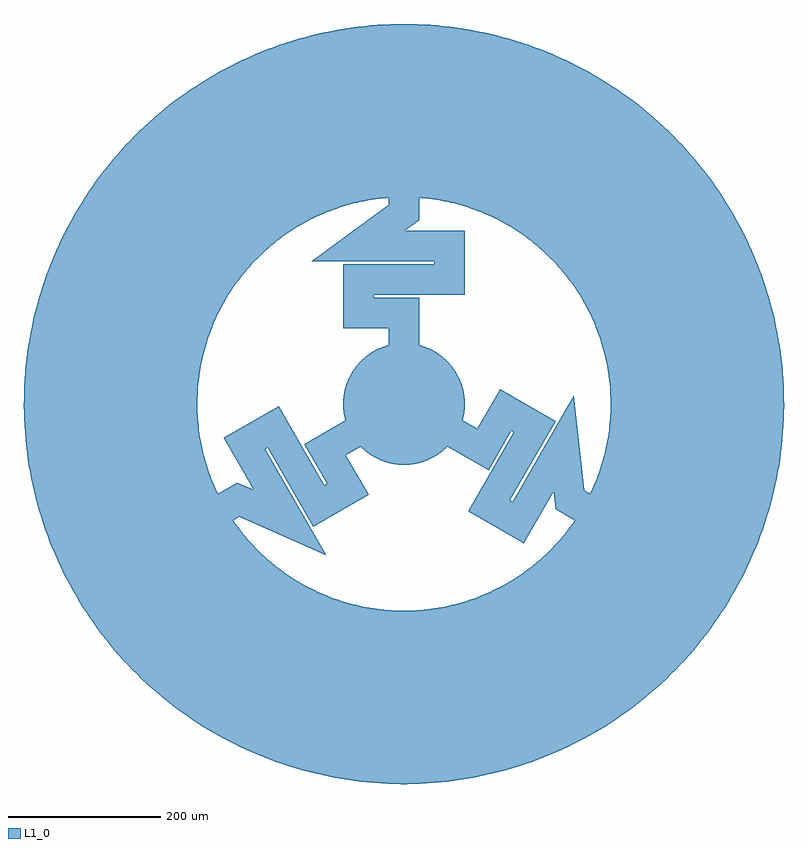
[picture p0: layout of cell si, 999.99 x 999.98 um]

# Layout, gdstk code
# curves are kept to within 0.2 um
import gdstk
lib = gdstk.Library(unit=1e-6, precision=1e-09)
def P(c, l, *ps):  # polygons
    for p in ps: c.add(gdstk.Polygon(p, *l))
L1_0 = (1, 0)

c_si = lib.new_cell('si')
P(c_si, L1_0, [(-0.7,-79.997),(-7.689,-79.63),(-15.993,-78.385),(-24.121,-76.277),(-30.696,-73.877),(-37.035,-70.911),(-44.264,-66.639),(-51.005,-61.632),(-57.184,-55.946),(-61.855,-50.735),(-66.832,-43.972),(-71.073,-36.724),(-74.531,-29.072),(-77.167,-21.1),(-78.716,-14.275),(-79.663,-7.34),(-79.993,1.05),(-79.595,8.037),(-78.314,16.336),(-76.171,24.455),(-73.188,32.304),(-69.398,39.798),(-65.655,45.711),(-60.502,52.341),(-55.696,57.428),(-49.369,62.95),(-43.679,67.024),(-37.654,70.585),(-30.048,74.143),(-22.111,76.884),(-13.93,78.778),(-6.992,79.694),(1.4,79.988),(9.777,79.4),(16.679,78.242),(24.788,76.063),(32.624,73.046),(40.101,69.224),(45.998,65.454),(52.605,60.272),(57.671,55.444),(63.165,49.093),(67.214,43.385),(71.391,36.101),(74.782,28.419),(76.98,21.774),(78.838,13.585),(79.724,6.643),(79.981,-1.75),(79.357,-10.124),(78.168,-17.021),(75.954,-25.121),(73.468,-31.663),(69.744,-39.189),(66.052,-45.134),(61.855,-50.735),(56.196,-56.939),(51.005,-61.632),(44.264,-66.639),(37.035,-70.911),(30.696,-73.877),(22.783,-76.687),(14.619,-78.653),(7.689,-79.63)],
  [(-4.375,-499.981),(-30.609,-499.062),(-56.759,-496.768),(-82.752,-493.105),(-99.958,-489.907),(-125.531,-483.985),(-150.759,-476.73),(-175.57,-468.161),(-199.898,-458.302),(-215.815,-451.025),(-239.188,-439.078),(-261.902,-425.92),(-283.894,-411.588),(-305.103,-396.121),(-325.472,-379.563),(-344.944,-361.959),(-357.4,-349.665),(-375.258,-330.426),(-392.082,-310.277),(-407.826,-289.272),(-417.699,-274.822),(-431.547,-252.522),(-440.12,-237.265),(-451.965,-213.839),(-462.565,-189.825),(-471.89,-165.287),(-479.914,-140.294),(-486.616,-114.914),(-491.976,-89.217),(-494.797,-71.945),(-497.891,-45.878),(-499.612,-19.685),(-499.957,6.563),(-499.421,24.056),(-498.273,41.519),(-496.515,58.932),(-494.148,76.272),(-491.176,93.519),(-487.603,110.651),(-483.432,127.648),(-478.668,144.488),(-473.318,161.151),(-467.389,177.617),(-460.886,193.865),(-453.819,209.876),(-446.196,225.63),(-438.027,241.107),(-429.321,256.289),(-419.533,272),(0,272),(-19.027,271.334),(-33.24,269.961),(-47.363,267.845),(-65.982,263.876),(-84.279,258.614),(-97.735,253.834),(-115.252,246.376),(-128.023,239.988),(-144.497,230.445),(-156.392,222.544),(-171.576,211.059),(-182.416,201.763),(-192.753,191.912),(-205.706,177.959),(-214.762,166.918),(-225.911,151.486),(-235.955,135.312),(-242.731,122.743),(-250.722,105.463),(-255.912,92.159),(-261.731,74.032),(-265.256,60.194),(-268.817,41.492),(-270.624,27.327),(-271.685,13.086),(-271.935,-5.95),(-270.853,-24.958),(-269.17,-39.138),(-266.745,-53.21),(-262.369,-71.739),(-256.708,-89.916),(-251.635,-103.265),(-243.796,-120.614),(-237.13,-133.242),(-229.81,-145.504),(-219.069,-161.223),(-207.255,-176.152),(-197.725,-186.786),(-184.174,-200.159),(-173.416,-209.549),(-162.18,-218.362),(-146.508,-229.171),(-134.279,-236.544),(-117.403,-245.358),(-104.365,-251.181),(-86.539,-257.866),(-72.886,-262.053),(-54.377,-266.509),(-40.315,-268.996),(-21.4,-271.157),(-2.38,-271.99),(11.898,-271.74),(30.877,-270.242),(45.017,-268.249),(59.033,-265.517),(77.461,-260.737),(95.51,-254.68),(108.745,-249.316),(121.679,-243.266),(138.398,-234.158),(154.438,-223.904),(165.976,-215.49),(177.057,-206.482),(191.067,-193.591),(200.963,-183.297),(210.306,-172.497),(219.069,-161.223),(227.228,-149.503),(234.761,-137.372),(241.647,-124.862),(247.867,-112.008),(253.404,-98.845),(258.242,-85.41),(262.369,-71.739),(266.745,-53.21),(269.17,-39.138),(270.853,-24.958),(271.789,-10.708),(271.977,3.57),(271.414,17.839),(270.104,32.059),(268.049,46.19),(265.256,60.194),(261.731,74.032),(257.485,87.666),(252.529,101.059),(246.878,114.173),(240.546,126.972),(231.075,143.487),(223.226,155.416),(214.762,166.918),(205.706,177.959),(196.082,188.509),(185.919,198.54),(175.243,208.024),(164.084,216.934),(148.508,227.88),(132.203,237.71),(115.252,246.376),(97.735,253.834),(79.74,260.049),(61.354,264.99),(42.668,268.633),(23.772,270.959),(14.275,271.625),(0,272),(-419.533,272),(-410.341,285.692),(-400.092,299.878),(-389.352,313.696),(-378.135,327.13),(-360.446,346.524),(-348.098,358.926),(-335.323,370.888),(-315.396,387.976),(-301.625,398.776),(-287.485,409.087),(-272.992,418.898),(-258.165,428.195),(-235.337,441.154),(-211.86,452.897),(-195.88,460.034),(-179.66,466.607),(-154.925,475.393),(-138.193,480.523),(-121.291,485.065),(-95.667,490.763),(-78.433,493.81),(-61.104,496.252),(-43.699,498.087),(-26.241,499.311),(0,500),(17.498,499.694),(43.699,498.087),(69.779,495.107),(95.667,490.763),(121.291,485.065),(146.581,478.031),(171.467,469.68),(195.88,460.034),(211.86,452.897),(235.337,441.154),(258.165,428.195),(280.281,414.056),(294.6,403.994),(315.396,387.976),(335.323,370.888),(354.326,352.779),(372.352,333.697),(389.352,313.696),(405.279,292.83),(415.278,278.467),(429.321,256.289),(442.179,233.404),(453.819,209.876),(464.209,185.77),(473.318,161.151),(481.124,136.089),(487.603,110.651),(491.176,93.519),(495.408,67.612),(498.273,41.519),(499.421,24.056),(499.995,-2.188),(499.191,-28.425),(497.012,-54.584),(494.797,-71.945),(490.339,-97.813),(486.616,-114.914),(479.914,-140.294),(471.89,-165.287),(462.565,-189.825),(451.965,-213.839),(440.12,-237.265),(427.061,-260.036),(412.826,-282.09),(402.701,-296.365),(386.592,-317.091),(369.418,-336.943),(351.225,-355.866),(332.065,-373.809),(311.989,-390.721),(291.054,-406.556),(269.316,-421.271),(254.408,-430.438),(231.467,-443.196),(207.888,-454.733),(183.737,-465.017),(159.079,-474.019),(142.392,-479.296),(117.042,-486.108),(91.369,-491.581),(65.444,-495.699),(39.339,-498.45),(13.125,-499.828)])
c_si.add(gdstk.FlexPath([(0,0),(0,120),(-60,120),(-60,164),(60,164),(60,208),(-60,208),(-60,208),(0,252),(0,272)], 40, ends="flush", simple_path=True, layer=1, datatype=0))  # L1_0
c_si.add(gdstk.FlexPath([(0,0),(-103.923,-60),(-73.923,-111.962),(-112.028,-133.962),(-172.028,-30.038),(-210.133,-52.038),(-150.133,-155.962),(-150.133,-155.962),(-218.238,-126),(-235.559,-136)], 40, ends="flush", simple_path=True, layer=1, datatype=0))  # L1_0
c_si.add(gdstk.FlexPath([(0,0),(103.923,-60),(133.923,-8.038),(172.028,-30.038),(112.028,-133.962),(150.133,-155.962),(210.133,-52.038),(210.133,-52.038),(218.238,-126),(235.559,-136)], 40, ends="flush", simple_path=True, layer=1, datatype=0))  # L1_0

lib.write_gds('si.gds')
